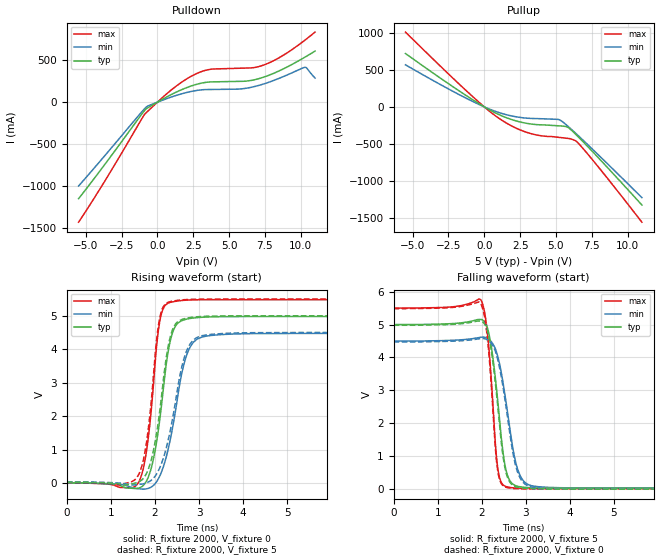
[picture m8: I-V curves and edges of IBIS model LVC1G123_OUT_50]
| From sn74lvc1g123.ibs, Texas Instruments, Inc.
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[Model]   LVC1G123_OUT_50
Model_type  Output
Vref =   0
Rref =   500
Cref =   50p
Vmeas =   2.5
| variable   typ   min   max
C_comp   8.58pF   5.36pF   11.83pF
| C_pullup   9.36pF   5.36pF   11.83pF
| C_pulldown   7.81pF   6.14pF   10.70pF
[Temperature Range]   40   100   -40
| Ambient temperature   25   85   -40
[Voltage range]   5   4.5   5.5
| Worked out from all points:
|   slope of the pulldown table from 0 to 0.75 V, typ, clamps not added: 10.5 ohm
|   slope of the pullup table from 0 to 0.75 V, typ, clamps not added: 9.47 ohm
|   rising waveform, R_fixture 2000, V_fixture 0: 20-80 % time 300ps typ, 384ps min, 238ps max; typ from 0 V to 4.98 V
|   falling waveform, R_fixture 2000, V_fixture 5: 20-80 % time 242ps typ, 318ps min, 172ps max; typ from 5 V to 0.025 V
|   rising waveform, R_fixture 2000, V_fixture 5: 20-80 % time 316ps typ, 403ps min, 252ps max; typ from 0.025 V to 5 V
|   falling waveform, R_fixture 2000, V_fixture 0: 20-80 % time 244ps typ, 318ps min, 175ps max; typ from 4.98 V to 0 V
[Pulldown]
| LVC1G123_OUT_50
|   Voltage   I(typ)   I(min)   I(max)
-5.5V     -1.152A    -1A        -1.432A
-3.63V    -733.5mA   -630mA     -930mA
-865mV    -93.93mA   -73.09mA   -139.9mA
1.005V    94.01mA    63.31mA    150.7mA
2.25V     186.6mA    123.8mA    298.6mA
3.35V     235.6mA    150.2mA    379.8mA
5.9V      248.8mA    159.4mA    405.6mA
6.79V     268.1mA    187.1mA    414.3mA
7.595V    309.5mA    227.4mA    454.7mA
8.825V    400.4mA    307.8mA    564mA
10.29V    536.2mA    415.9mA    738.8mA
11V       609.4mA    287.9mA    836.2mA
[Pullup]
| LVC1G123_OUT_50
|   Voltage   I(typ)   I(min)   I(max)
-5.5V     721.3mA    568.7mA    1.011A
-1.19V    144.1mA    110mA      206.7mA
1.035V    -105.2mA   -77.08mA   -155.7mA
2.04V     -179.1mA   -127.4mA   -270.5mA
3.045V    -225mA     -153.5mA   -349.4mA
3.945V    -242.4mA   -159.9mA   -389.5mA
5.295V    -257.2mA   -179mA     -413.8mA
5.83V     -275.7mA   -260.6mA   -425.8mA
6.335V    -361.8mA   -349mA     -454.6mA
6.535V    -400.1mA   -385mA     -485.8mA
8.11V     -718.5mA   -676.9mA   -847.9mA
11V       -1.326A    -1.227A    -1.558A
[Ramp]
| LVC1G123_OUT_50
| variable   typ   min   max
dV/dt_r   3.08/3.19E-10   2.79/4.13E-10   3.38/2.53E-10
dV/dt_f   3.08/2.54E-10   2.75/3.33E-10   3.45/1.85E-10
R_load = 2000
[Rising Waveform]
| LVC1G123_OUT_50
R_fixture =   2000
C_fixture =   0
L_fixture =   0
V_fixture =   0
V_fixture_min = 0
V_fixture_max = 0
|   Time   V(typ)   V(min)   V(max)
0s        202.1pV    5.081nV    2.209nV
1.635ns   -149.8mV   -171.6mV   33.71mV
1.835ns   132.4mV    -165.5mV   1.204V
2.125ns   2.06V      255.6mV    4.94V
2.31ns    4.002V     1.069V     5.383V
2.5ns     4.754V     2.439V     5.439V
2.66ns    4.878V     3.565V     5.463V
2.845ns   4.929V     4.162V     5.475V
3.58ns    4.974V     4.443V     5.483V
29.99ns   4.978V     4.473V     5.483V
[Falling Waveform]
| LVC1G123_OUT_50
R_fixture =   2000
C_fixture =   0
L_fixture =   0
V_fixture =   5
V_fixture_min = 4.5
V_fixture_max = 5.5
|   Time   V(typ)   V(min)   V(max)
0s        5V         4.5V       5.5V
1.985ns   5.154V     4.614V     5.741V
2.14ns    4.856V     4.576V     4.625V
2.32ns    3.264V     4.23V      1.235V
2.375ns   2.551V     3.981V     555.9mV
2.52ns    805.5mV    2.941V     100.4mV
2.665ns   212.4mV    1.62V      47.56mV
2.935ns   61.15mV    277.3mV    26.51mV
3.515ns   30.57mV    54.8mV     18.6mV
29.99ns   24.84mV    32.97mV    17.02mV
[Rising Waveform]
| LVC1G123_OUT_50
R_fixture =   2000
C_fixture =   0
L_fixture =   0
V_fixture =   5
V_fixture_min = 4.5
V_fixture_max = 5.5
|   Time   V(typ)   V(min)   V(max)
0s        24.81mV    32.94mV    17mV
1.62ns    23.68mV    -43.6mV    227.3mV
1.83ns    348.4mV    16.94mV    1.415V
2.115ns   2.218V     471.5mV    4.974V
2.3ns     4.085V     1.281V     5.404V
2.5ns     4.805V     2.714V     5.458V
2.655ns   4.908V     3.703V     5.48V
2.835ns   4.954V     4.221V     5.492V
3.58ns    4.997V     4.474V     5.5V
29.99ns   5V         4.5V       5.5V
[Falling Waveform]
| LVC1G123_OUT_50
R_fixture =   2000
C_fixture =   0
L_fixture =   0
V_fixture =   0
V_fixture_min = 0
V_fixture_max = 0
|   Time   V(typ)   V(min)   V(max)
0s        4.979V     4.474V     5.484V
1.975ns   5.104V     4.572V     5.64V
2.135ns   4.793V     4.531V     4.521V
2.315ns   3.175V     4.173V     1.179V
2.37ns    2.461V     3.909V     520mV
2.51ns    786.5mV    2.888V     82.12mV
2.655ns   185mV      1.556V     30.07mV
2.905ns   37.54mV    269.2mV    9.919mV
3.485ns   5.763mV    21.19mV    1.643mV
29.99ns   27.8uV     34.03uV    18.29uV
